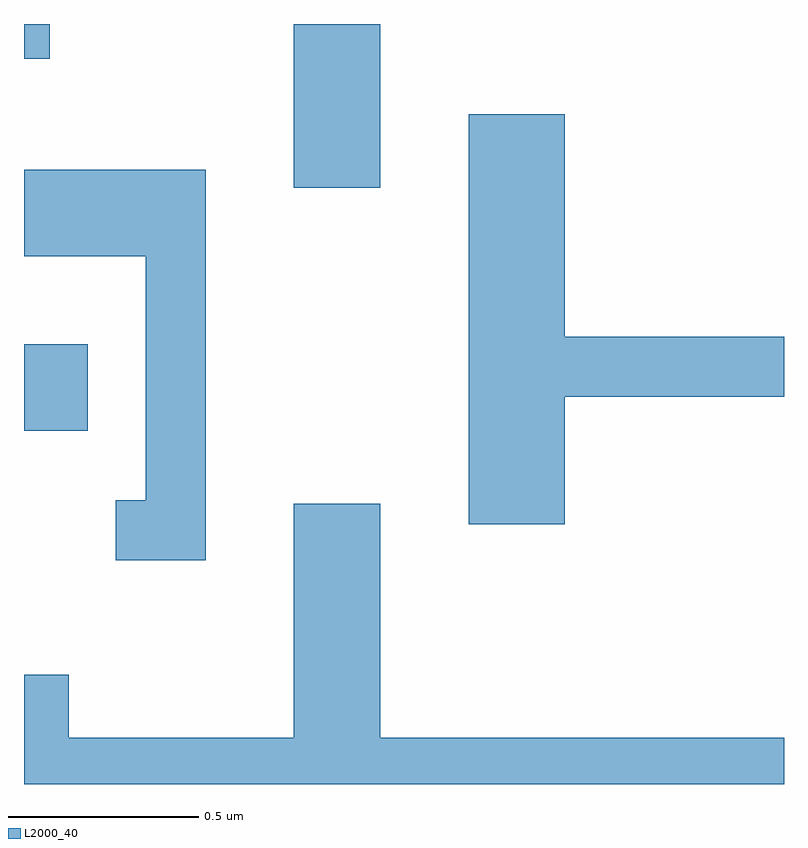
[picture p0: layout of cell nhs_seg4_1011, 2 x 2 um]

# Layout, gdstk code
import gdstk
lib = gdstk.Library(unit=1e-6, precision=1e-09)
def R(c, l, rs):  # rectangles x0, y0, x1, y1
    for r in rs: c.add(gdstk.rectangle(r[:2], r[2:], *l))
def P(c, l, *ps):  # polygons
    for p in ps: c.add(gdstk.Polygon(p, *l))
L2000_40 = (2000, 40)

nhs_seg4_1011 = lib.new_cell('nhs_seg4_1011')
R(nhs_seg4_1011, L2000_40, [(192.611,1306.911,192.779,1307.139), (193.321,1307.551,193.549,1307.982), (192.611,1307.891,192.679,1307.982)])
P(nhs_seg4_1011, L2000_40, [(194.034,1307.001),(194.611,1307.001),(194.611,1307.159),(194.034,1307.159),(194.034,1307.744),(193.781,1307.744),(193.781,1306.666),(194.034,1306.666)],
  [(193.089,1307.599),(192.611,1307.599),(192.611,1307.371),(192.931,1307.371),(192.931,1306.729),(192.853,1306.729),(192.853,1306.571),(193.089,1306.571)],
  [(194.611,1306.104),(193.549,1306.104),(193.549,1306.719),(193.321,1306.719),(193.321,1306.104),(192.729,1306.104),(192.729,1306.269),(192.611,1306.269),(192.611,1305.982),(194.611,1305.982)])

lib.write_gds('nhs_seg4_1011.gds')
